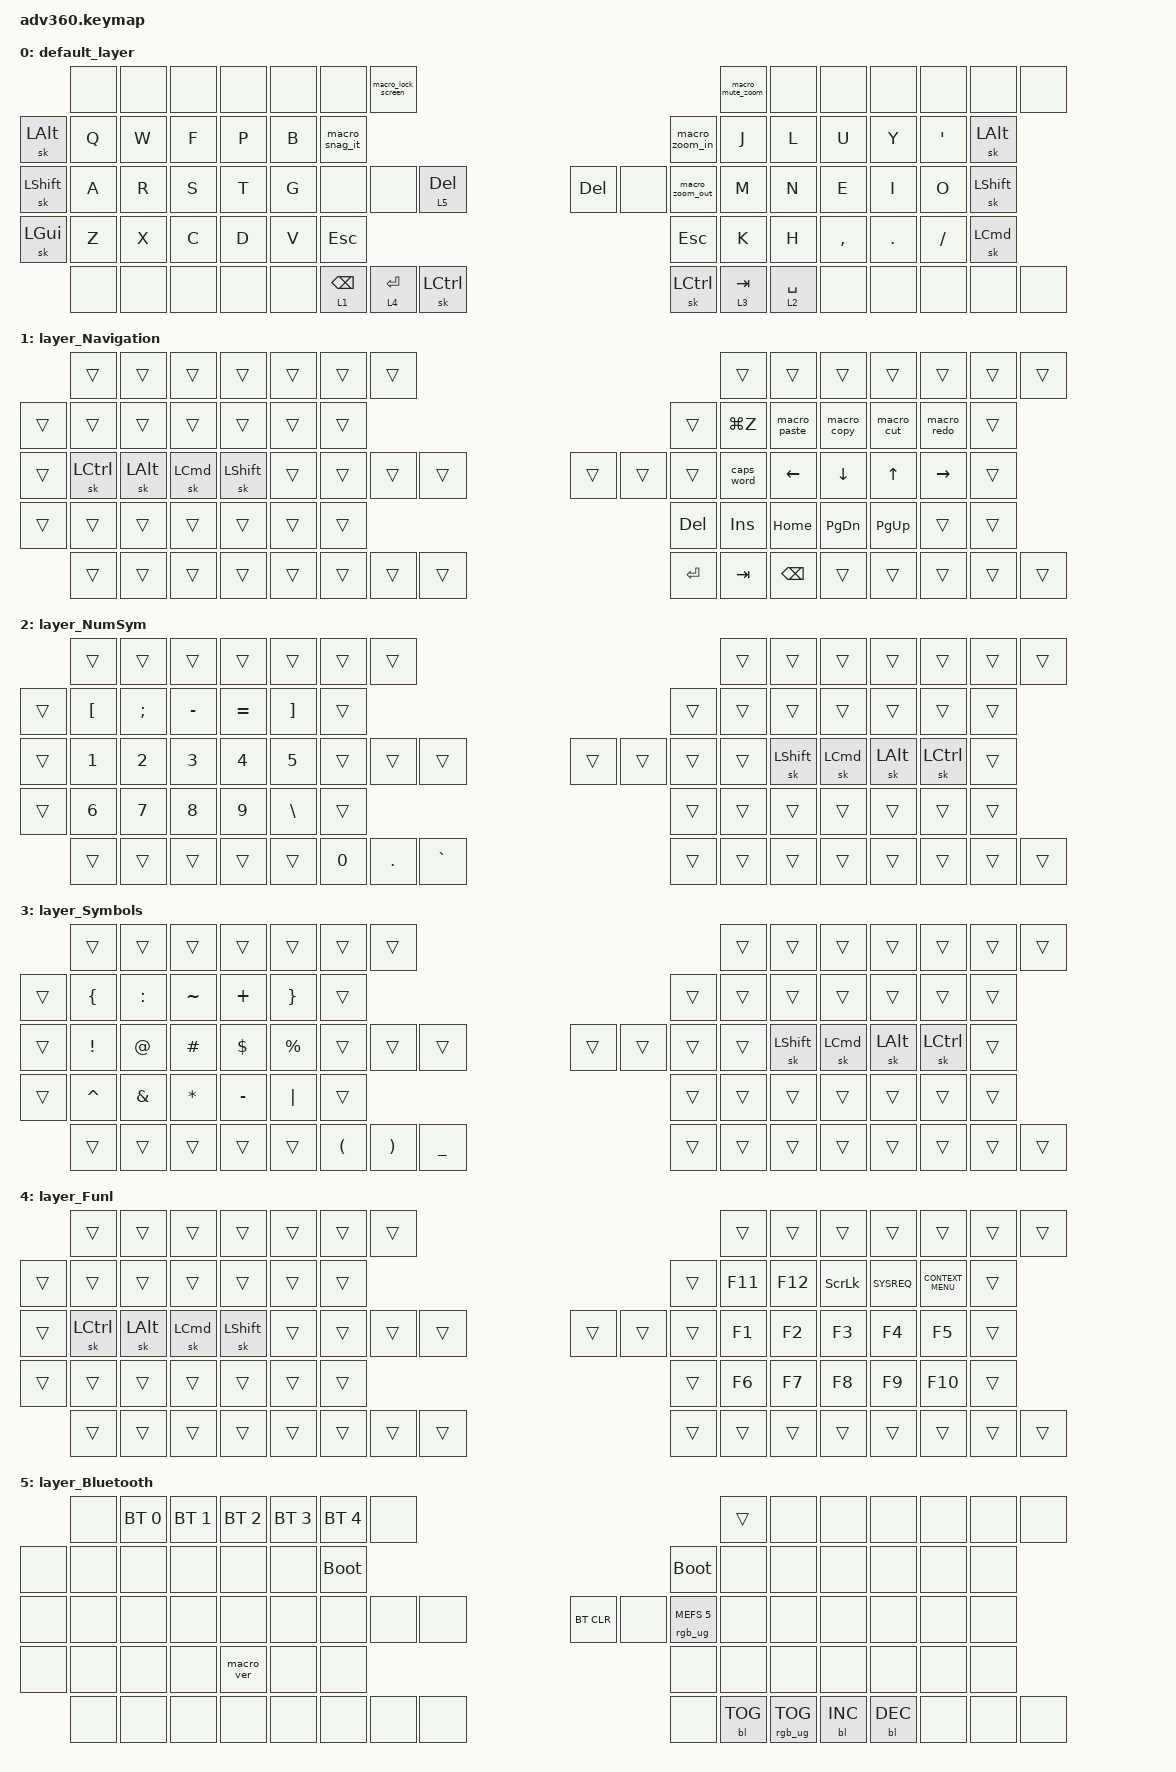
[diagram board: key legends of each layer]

/*
 * Copyright (c) 2020 The ZMK Contributors
 *
 * SPDX-License-Identifier: MIT
 */


/* THIS FILE WAS GENERATED!
 *
 * This file was generated automatically. You may or may not want to
 * edit it directly.
 */

#include <behaviors.dtsi>
#include <dt-bindings/zmk/keys.h>
#include <dt-bindings/zmk/bt.h>
#include <dt-bindings/zmk/rgb.h>
#include <dt-bindings/zmk/backlight.h>

/ {
  behaviors {
    #include "macros.dtsi"
    #include "version.dtsi"

    hm: homerow_mods {
        compatible = "zmk,behavior-hold-tap";
        label = "HOMEROW_MODS";
        #binding-cells = <2>;
        tapping-term-ms = <200>;
        quick_tap_ms = <175>;
        flavor = "tap-preferred";
        bindings = <&kp>, <&kp>;
    };
  };

    keymap {
        compatible = "zmk,keymap";


        default_layer {
            bindings = <
          &none   &none   &none   &none   &none   &none            &macro_lock_screen                                                                       &macro_mute_zoom   &none   &none      &none    &none             &none             &none
   &sk LEFT_ALT   &kp Q   &kp W   &kp F   &kp P   &kp B                &macro_snag_it                                                                         &macro_zoom_in   &kp J   &kp L      &kp U    &kp Y  &kp SINGLE_QUOTE      &sk LEFT_ALT
 &sk LEFT_SHIFT   &kp A   &kp R   &kp S   &kp T   &kp G                         &none        &none  &lt 5 DEL                        &kp DELETE      &none   &macro_zoom_out   &kp M   &kp N      &kp E    &kp I             &kp O    &sk LEFT_SHIFT
   &sk LEFT_GUI   &kp Z   &kp X   &kp C   &kp D   &kp V                                               &kp ESC                           &kp ESC                                &kp K   &kp H  &kp COMMA  &kp DOT          &kp FSLH  &sk LEFT_COMMAND
          &none   &none   &none   &none   &none                       &lt 1 BACKSPACE  &lt 4 ENTER  &sk LCTRL                  &sk LEFT_CONTROL  &lt 3 TAB       &lt 2 SPACE           &none      &none    &none             &none             &none
            >;
        };

        layer_Navigation {
            bindings = <
 &trans            &trans    &trans            &trans      &trans  &trans            &trans                                                             &trans      &trans          &trans          &trans       &trans           &trans  &trans
 &trans            &trans    &trans            &trans      &trans  &trans            &trans                                                             &trans   &kp LG(Z)    &macro_paste     &macro_copy   &macro_cut      &macro_redo  &trans
 &trans  &sk LEFT_CONTROL  &sk LALT  &sk LEFT_COMMAND  &sk LSHIFT  &trans            &trans  &trans  &trans                     &trans   &trans         &trans  &caps_word  &kp LEFT_ARROW  &kp DOWN_ARROW       &kp UP  &kp RIGHT_ARROW  &trans
 &trans            &trans    &trans            &trans      &trans  &trans                            &trans                    &kp DEL                             &kp INS        &kp HOME   &kp PAGE_DOWN  &kp PAGE_UP           &trans  &trans
 &trans            &trans    &trans            &trans      &trans                    &trans  &trans  &trans                  &kp ENTER  &kp TAB  &kp BACKSPACE                      &trans          &trans       &trans           &trans  &trans
            >;
        };

        layer_NumSym {
            bindings = <
 &trans            &trans         &trans        &trans        &trans             &trans                  &trans                                                      &trans  &trans          &trans            &trans    &trans            &trans  &trans
 &trans  &kp LEFT_BRACKET  &kp SEMICOLON     &kp MINUS     &kp EQUAL  &kp RIGHT_BRACKET                  &trans                                                      &trans  &trans          &trans            &trans    &trans            &trans  &trans
 &trans      &kp NUMBER_1   &kp NUMBER_2  &kp NUMBER_3  &kp NUMBER_4       &kp NUMBER_5                  &trans   &trans     &trans                  &trans  &trans  &trans  &trans  &sk LEFT_SHIFT  &sk LEFT_COMMAND  &sk LALT  &sk LEFT_CONTROL  &trans
 &trans      &kp NUMBER_6   &kp NUMBER_7  &kp NUMBER_8  &kp NUMBER_9      &kp BACKSLASH                                      &trans                  &trans                  &trans          &trans            &trans    &trans            &trans  &trans
 &trans            &trans         &trans        &trans        &trans                               &kp NUMBER_0  &kp DOT  &kp GRAVE                  &trans  &trans  &trans                  &trans            &trans    &trans            &trans  &trans
            >;
        };

        layer_Symbols {
            bindings = <
 &trans           &trans         &trans        &trans      &trans           &trans                          &trans                                                                         &trans  &trans          &trans            &trans    &trans            &trans  &trans
 &trans   &kp LEFT_BRACE      &kp COLON     &kp TILDE    &kp PLUS  &kp RIGHT_BRACE                          &trans                                                                         &trans  &trans          &trans            &trans    &trans            &trans  &trans
 &trans  &kp EXCLAMATION         &kp AT      &kp HASH  &kp DOLLAR      &kp PERCENT                          &trans                 &trans          &trans                  &trans  &trans  &trans  &trans  &sk LEFT_SHIFT  &sk LEFT_COMMAND  &sk LALT  &sk LEFT_CONTROL  &trans
 &trans        &kp CARET  &kp AMPERSAND  &kp ASTERISK   &kp MINUS         &kp PIPE                                                                 &trans                  &trans                  &trans          &trans            &trans    &trans            &trans  &trans
 &trans           &trans         &trans        &trans      &trans                             &kp LEFT_PARENTHESIS  &kp RIGHT_PARENTHESIS  &kp UNDERSCORE                  &trans  &trans  &trans                  &trans            &trans    &trans            &trans  &trans
            >;
        };

        layer_Funl {
            bindings = <
 &trans            &trans    &trans            &trans      &trans  &trans            &trans                                                  &trans   &trans   &trans          &trans      &trans              &trans  &trans
 &trans            &trans    &trans            &trans      &trans  &trans            &trans                                                  &trans  &kp F11  &kp F12  &kp SCROLLLOCK  &kp SYSREQ  &kp K_CONTEXT_MENU  &trans
 &trans  &sk LEFT_CONTROL  &sk LALT  &sk LEFT_COMMAND  &sk LSHIFT  &trans            &trans  &trans  &trans                  &trans  &trans  &trans   &kp F1   &kp F2          &kp F3      &kp F4              &kp F5  &trans
 &trans            &trans    &trans            &trans      &trans  &trans                            &trans                  &trans                   &kp F6   &kp F7          &kp F8      &kp F9             &kp F10  &trans
 &trans            &trans    &trans            &trans      &trans                    &trans  &trans  &trans                  &trans  &trans  &trans            &trans          &trans      &trans              &trans  &trans
            >;
        };

        layer_Bluetooth {
            bindings = <
  &none  &bt BT_SEL 0  &bt BT_SEL 1  &bt BT_SEL 2  &bt BT_SEL 3  &bt BT_SEL 4                  &none                                                                          &trans   &none       &none       &none   &none   &none   &none
  &none         &none         &none         &none         &none         &none            &bootloader                                                                     &bootloader   &none       &none       &none   &none   &none   &none
  &none         &none         &none         &none         &none         &none                  &none   &none   &none                  &bt BT_CLR       &none  &rgb_ug RGB_MEFS_CMD 5   &none       &none       &none   &none   &none   &none
  &none         &none         &none         &none    &macro_ver         &none                                  &none                       &none                                       &none       &none       &none   &none   &none   &none
  &none         &none         &none         &none         &none                                &none   &none   &none                       &none  &bl BL_TOG         &rgb_ug RGB_TOG          &bl BL_INC  &bl BL_DEC   &none   &none   &none
            >;
        };

    };
};
